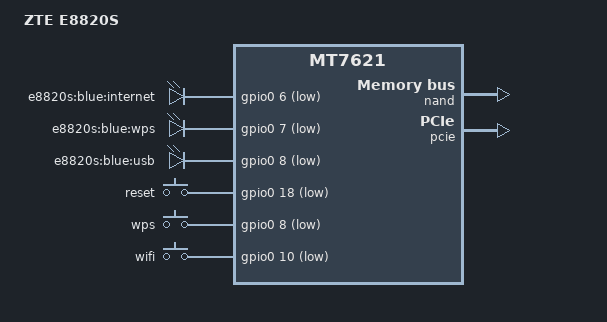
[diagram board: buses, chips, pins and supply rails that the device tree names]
/dts-v1/;

#include "mt7621.dtsi"

#include <dt-bindings/gpio/gpio.h>
#include <dt-bindings/input/input.h>

/ {
	compatible = "zte,e8820s", "mediatek,mt7621-soc";
	model = "ZTE E8820S";

	aliases {
		led-boot = &led_wps;
		led-failsafe = &led_wps;
	};

	chosen {
		bootargs = "console=ttyS0,115200";
	};

	leds {
		compatible = "gpio-leds";

		internet {
			label = "e8820s:blue:internet";
			gpios = <&gpio0 6 GPIO_ACTIVE_LOW>;
		};

		led_wps: wps {
			label = "e8820s:blue:wps";
			gpios = <&gpio0 7 GPIO_ACTIVE_LOW>;
		};

		usb {
			label = "e8820s:blue:usb";
			gpios = <&gpio0 8 GPIO_ACTIVE_LOW>;
			trigger-sources = <&xhci_ehci_port1>, <&ehci_port2>;
			linux,default-trigger = "usbport";
		};
	};

    keys {
        compatible= "gpio-keys-polled";
        poll-interval= <20>;

        reset{
			label= "reset";
			gpios= <&gpio0 18 GPIO_ACTIVE_LOW>;
			linux,code= <KEY_RESTART>;
		};

        wps{
			label= "wps";
			gpios= <&gpio0 8 GPIO_ACTIVE_LOW>;
			linux,code= <KEY_WPS_BUTTON>;
		};
		wifi {
			label = "wifi";
			gpios = <&gpio0 10 GPIO_ACTIVE_LOW>;
			linux,code = <KEY_RFKILL>;
		};
	};

	ubi-concat {
		compatible = "mtd-concat";
		devices = <&ubipart0 &ubipart1>;

		partitions {
			compatible = "fixed-partitions";
			#address-cells = <1>;
			#size-cells = <1>;

			ubi@0 {
				label = "ubi";
				reg = <0x0 0x79c0000>;
			};
		};
	};
};

&nand {
	status = "okay";

	partitions {
		compatible = "fixed-partitions";
		#address-cells = <1>;
		#size-cells = <1>;

		partition@0 {
			label = "u-boot";
			reg = <0x0 0x80000>;
			read-only;
		};

		partition@80000 {
			label = "debug";
			reg = <0x80000 0x80000>;
			read-only;
		};

		factory: partition@100000 {
			label = "factory";
			reg = <0x100000 0x40000>;
			read-only;
		};

		partition@140000 {
			label = "kernel";
			reg = <0x140000 0x400000>;
		};

		ubipart0: partition@540000 {
			label = "ubipart0";
			reg = <0x540000 0x1c80000>;
		};

		partition@21c0000 {
			label = "bdinfo";
			reg = <0x21c0000 0x80000>;
			read-only;
		};

		ubipart1: partition@2240000 {
			label = "ubipart1";
			reg = <0x2240000 0x5d40000>;
		};
	};
};

&pcie {
	status = "okay";
};

&pcie0 {
	mt76@0,0 {
		reg = <0x0000 0 0 0 0>;
		mediatek,mtd-eeprom = <&factory 0x0000>;
		ieee80211-freq-limit = <2400000 2500000>;
	};
};

&pcie1 {
	mt76@0,0 {
		reg = <0x0000 0 0 0 0>;
		mediatek,mtd-eeprom = <&factory 0x8000>;
		ieee80211-freq-limit = <5000000 6000000>;
	};
};

&switch0 {
	ports {
		port@1 {
			status = "okay";
			label = "lan1";
		};

		port@2 {
			status = "okay";
			label = "lan2";
		};

		port@3 {
			status = "okay";
			label = "lan3";
		};

		port@3 {
			status = "okay";
			label = "lan4";
		};

		port@4 {
			status = "okay";
			label = "wan";
		};
	};
};

&state_default {
	gpio {
		groups = "uart3", "jtag";
		function = "gpio";
	};
};
